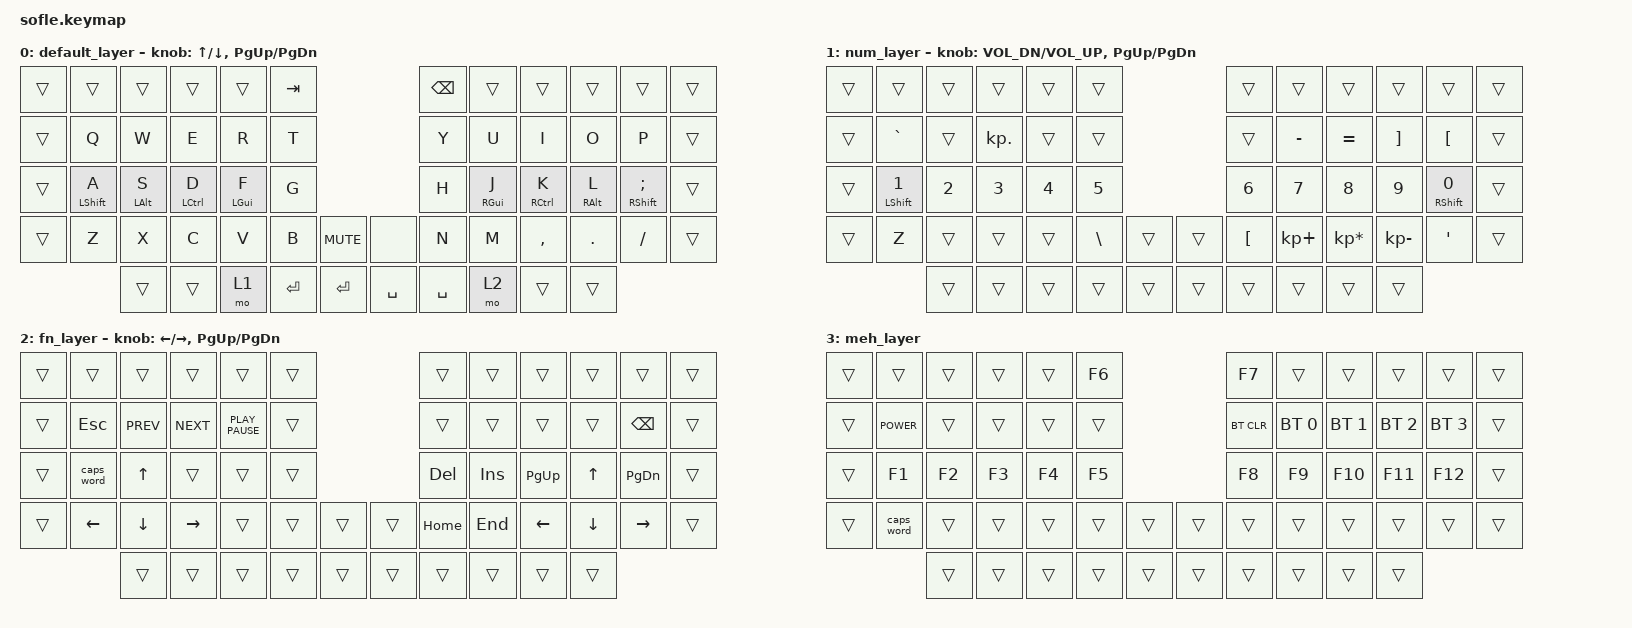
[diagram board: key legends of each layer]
/*
 * Copyright (c) 2020 The ZMK Contributors
 *
 * SPDX-License-Identifier: MIT
 */

#include <behaviors.dtsi>
#include <dt-bindings/zmk/keys.h>
#include <dt-bindings/zmk/bt.h>

/ {
    behaviors {
        bhm: homerow_mods {
            compatible = "zmk,behavior-hold-tap";
            label = "HOMEROW_MODS";
            #binding-cells = <2>;
            tapping-term-ms = <200>;
            quick-tap-ms = <125>;
            global-quick-tap;
            flavor = "tap-preferred";
            bindings =
                <&kp>,
                <&kp>;
        };
    };

    conditional_layers {
        compatible = "zmk,conditional-layers";

        tri_layer {
            if-layers = <1 2>;
            then-layer = <3>;
        };
    };

    keymap {
        compatible = "zmk,keymap";

        default_layer {
            bindings = <
 &trans         &trans       &trans        &trans       &trans  &kp TAB                         &kp BACKSPACE       &trans        &trans       &trans                 &trans  &trans
 &trans          &kp Q        &kp W         &kp E        &kp R    &kp T                                 &kp Y        &kp U         &kp I        &kp O                  &kp P  &trans
 &trans  &bhm LSHIFT A  &bhm LALT S  &bhm LCTRL D  &bhm LGUI F    &kp G                                 &kp H  &bhm RGUI J  &bhm RCTRL K  &bhm RALT L  &bhm RSHIFT SEMICOLON  &trans
 &trans          &kp Z        &kp X         &kp C        &kp V    &kp B  &kp C_MUTE      &none          &kp N        &kp M     &kp COMMA      &kp DOT               &kp FSLH  &trans
                             &trans        &trans        &mo 1  &kp RET     &kp RET  &kp SPACE      &kp SPACE        &mo 2        &trans       &trans
            >;

            sensor-bindings = <&inc_dec_kp UP DOWN &inc_dec_kp PG_UP PG_DN>;
        };

        num_layer {
            bindings = <
 &trans                &trans        &trans        &trans        &trans         &trans                        &trans        &trans           &trans        &trans               &trans  &trans
 &trans             &kp GRAVE        &trans    &kp KP_DOT        &trans         &trans                        &trans     &kp MINUS        &kp EQUAL      &kp RBKT             &kp LBKT  &trans
 &trans  &bhm LSHIFT NUMBER_1  &kp NUMBER_2  &kp NUMBER_3  &kp NUMBER_4   &kp NUMBER_5                  &kp NUMBER_6  &kp NUMBER_7     &kp NUMBER_8  &kp NUMBER_9  &bhm RIGHT_SHIFT N0  &trans
 &trans                 &kp Z        &trans        &trans        &trans  &kp BACKSLASH  &trans  &trans      &kp LBKT   &kp KP_PLUS  &kp KP_ASTERISK  &kp KP_MINUS     &kp SINGLE_QUOTE  &trans
                                     &trans        &trans        &trans         &trans  &trans  &trans        &trans        &trans           &trans        &trans
            >;

            sensor-bindings = <&inc_dec_kp C_VOL_DN C_VOL_UP &inc_dec_kp PG_UP PG_DN>;
        };

        fn_layer {
            bindings = <
 &trans      &trans      &trans      &trans            &trans  &trans                    &trans      &trans       &trans    &trans         &trans  &trans
 &trans     &kp ESC  &kp K_PREV  &kp K_NEXT  &kp K_PLAY_PAUSE  &trans                    &trans      &trans       &trans    &trans  &kp BACKSPACE  &trans
 &trans  &caps_word      &kp UP      &trans            &trans  &trans                   &kp DEL  &kp INSERT  &kp PAGE_UP    &kp UP  &kp PAGE_DOWN  &trans
 &trans    &kp LEFT    &kp DOWN   &kp RIGHT            &trans  &trans  &trans  &trans  &kp HOME     &kp END     &kp LEFT  &kp DOWN      &kp RIGHT  &trans
                         &trans      &trans            &trans  &trans  &trans  &trans    &trans      &trans       &trans    &trans
            >;

            sensor-bindings = <&inc_dec_kp LEFT RIGHT &inc_dec_kp PG_UP PG_DN>;
        };

        meh_layer {
            bindings = <
 &trans       &trans  &trans  &trans  &trans  &kp F6                      &kp F7        &trans        &trans        &trans        &trans  &trans
 &trans  &kp K_POWER  &trans  &trans  &trans  &trans                  &bt BT_CLR  &bt BT_SEL 0  &bt BT_SEL 1  &bt BT_SEL 2  &bt BT_SEL 3  &trans
 &trans       &kp F1  &kp F2  &kp F3  &kp F4  &kp F5                      &kp F8        &kp F9       &kp F10       &kp F11       &kp F12  &trans
 &trans   &caps_word  &trans  &trans  &trans  &trans  &trans  &trans      &trans        &trans        &trans        &trans        &trans  &trans
                      &trans  &trans  &trans  &trans  &trans  &trans      &trans        &trans        &trans        &trans
            >;
        };
    };
};
